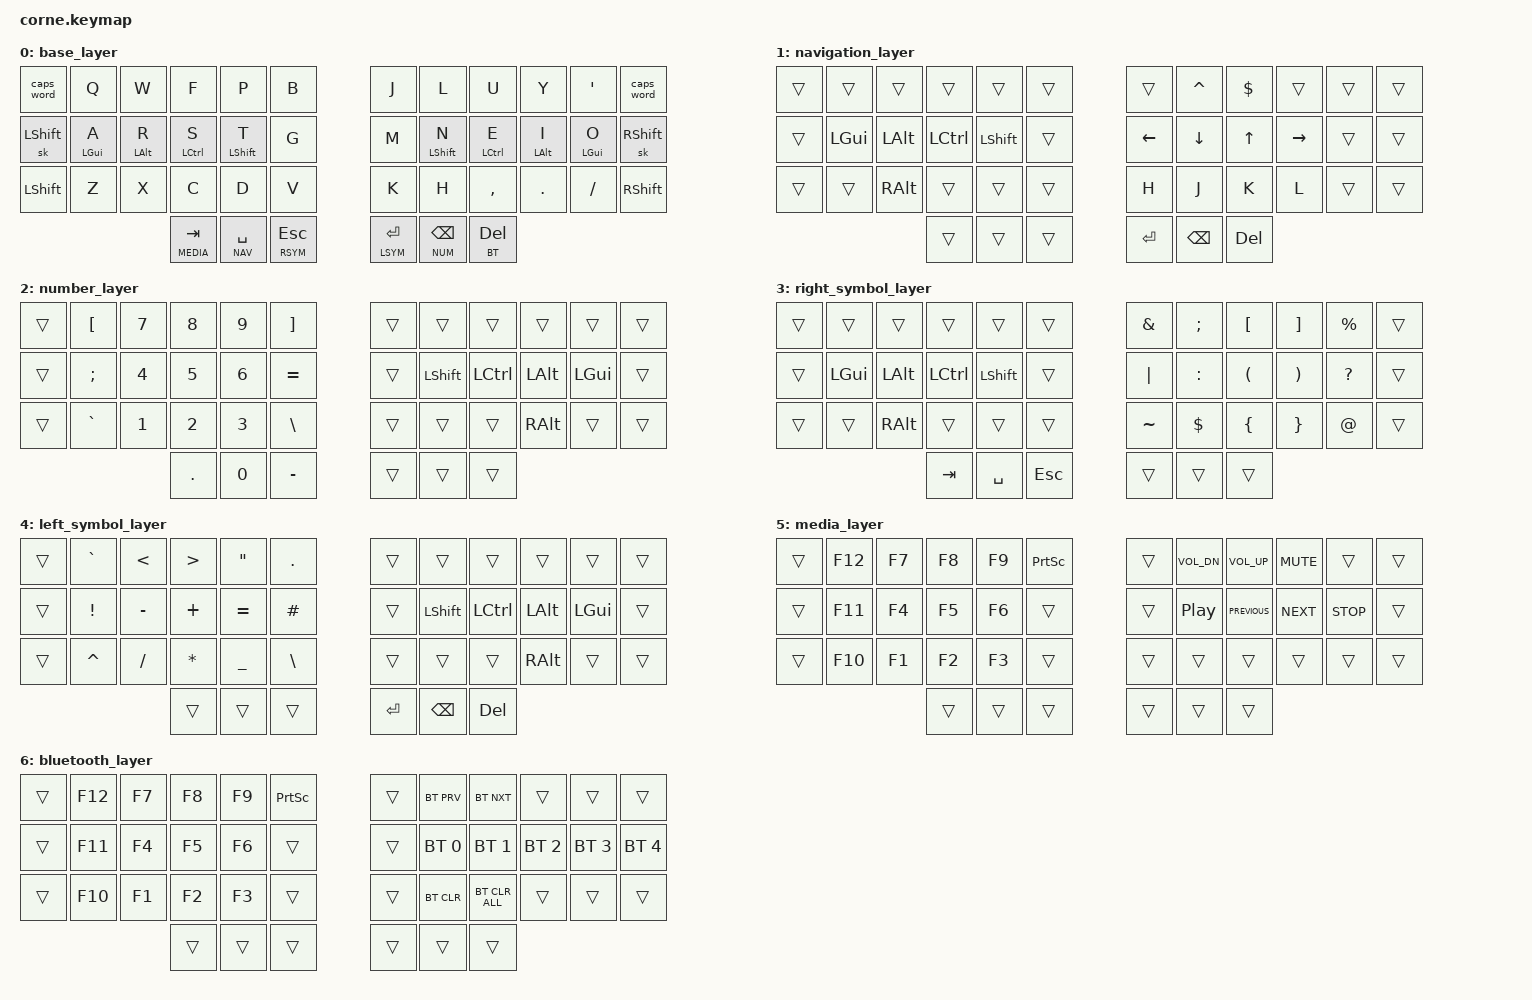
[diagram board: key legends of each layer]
#include <behaviors.dtsi>
#include <dt-bindings/zmk/keys.h>
#include <dt-bindings/zmk/bt.h>

#include "zmk-helpers/key-labels/42.h"

#define BASE 0
#define NAV 1
#define NUM 2
#define RSYM 3
#define LSYM 4
#define MEDIA 5
#define BT 6

#define KEYS_L LT0 LT1 LT2 LT3 LT4 LT5 LM0 LM1 LM2 LM3 LM4 LM5 LB0 LB1 LB2 LB3 LB4 LB5
#define KEYS_R RT0 RT1 RT2 RT3 RT4 RT5 RM0 RM1 RM2 RM3 RM4 RT5 RB0 RB1 RB2 RB3 RB4 RB5
#define THUMBS LH2 LH1 LH0 RH0 RH1 RH2

&sk {
    release-after-ms = <900>;
    quick-release;
};

&sl { // Allow sticky mods to chord across sticky layers.
    ignore-modifiers;
};

&lt {
    flavor = "balanced";
    tapping-term-ms = <200>;
    quick-tap-ms = <175>;
};

/ {
    behaviors {
        hml: homerow_mods_left {
            compatible = "zmk,behavior-hold-tap";
            #binding-cells = <2>;
            flavor = "balanced";
            require-prior-idle-ms = <150>;
            tapping-term-ms = <280>;
            quick-tap-ms = <175>;
            bindings = <&kp>, <&kp>;
            hold-trigger-key-positions = <KEYS_R THUMBS>;
            hold-trigger-on-release;
        };

        hmr: homerow_mods_right {
            compatible = "zmk,behavior-hold-tap";
            #binding-cells = <2>;
            flavor = "balanced";
            require-prior-idle-ms = <150>;
            tapping-term-ms = <280>;
            quick-tap-ms = <175>;
            bindings = <&kp>, <&kp>;
            hold-trigger-key-positions = <KEYS_L THUMBS>;
            hold-trigger-on-release;
        };
    };
    keymap {
        compatible = "zmk,keymap";
        base_layer {
            bindings = <
&caps_word  &kp Q         &kp W         &kp F         &kp P         &kp B       &kp J    &kp L         &kp U         &kp Y       &kp SQT     &caps_word
&sk LSHIFT  &hml LGUI A   &hml LALT R   &hml LCTRL S  &hml LSHIFT T &kp G       &kp M    &hmr LSHIFT N &hmr LCTRL E  &hmr LALT I &hmr LGUI O &sk RSHIFT
&kp LSHIFT  &kp Z         &kp X         &kp C         &kp D         &kp V       &kp K    &kp H         &kp COMMA     &kp DOT     &kp FSLH    &kp RSHIFT
                          &lt MEDIA TAB &lt NAV SPACE &lt RSYM ESC              &lt LSYM RET  &lt NUM BSPC  &lt BT DEL
            >;
        };

        navigation_layer {
            bindings = <
&trans  &trans    &trans    &trans     &trans     &trans    &trans    &kp CARET  &kp DOLLAR  &trans     &trans  &trans
&trans  &kp LGUI  &kp LALT  &kp LCTRL  &kp LSHFT  &trans    &kp LEFT  &kp DOWN   &kp UP      &kp RIGHT  &trans  &trans
&trans  &trans    &kp RALT  &trans     &trans     &trans    &kp H     &kp J      &kp K       &kp L      &trans  &trans
                            &trans     &trans     &trans    &kp RET   &kp BSPC   &kp DEL
            >;
        };

        number_layer {
            bindings = <
&trans  &kp LBKT   &kp N7  &kp N8   &kp N9  &kp RBKT     &trans  &trans     &trans     &trans    &trans    &trans
&trans  &kp SEMI   &kp N4  &kp N5   &kp N6  &kp EQUAL    &trans  &kp LSHFT  &kp LCTRL  &kp LALT  &kp LGUI  &trans
&trans  &kp GRAVE  &kp N1  &kp N2   &kp N3  &kp BSLH     &trans  &trans     &trans     &kp RALT  &trans    &trans
                           &kp DOT  &kp N0  &kp MINUS    &trans  &trans     &trans
            >;
        };

        right_symbol_layer {
            bindings = <
&trans  &trans    &trans    &trans     &trans     &trans     &kp AMPS   &kp SEMI    &kp LBKT  &kp RBKT  &kp PRCNT  &trans
&trans  &kp LGUI  &kp LALT  &kp LCTRL  &kp LSHFT  &trans     &kp PIPE   &kp COLON   &kp LPAR  &kp RPAR  &kp QMARK  &trans
&trans  &trans    &kp RALT  &trans     &trans     &trans     &kp TILDE  &kp DOLLAR  &kp LBRC  &kp RBRC  &kp AT     &trans
                            &kp TAB    &kp SPACE  &kp ESC    &trans         &trans          &trans
            >;
        };

        left_symbol_layer {
            bindings = <
&trans  &kp GRAVE   &kp LT      &kp GT    &kp DQT    &kp DOT          &trans   &trans     &trans     &trans    &trans    &trans
&trans  &kp EXCL    &kp MINUS   &kp PLUS  &kp EQUAL  &kp POUND        &trans   &kp LSHFT  &kp LCTRL  &kp LALT  &kp LGUI  &trans
&trans  &kp CARET   &kp FSLH    &kp STAR  &kp UNDER  &kp BSLH         &trans   &trans     &trans     &kp RALT  &trans    &trans
                                   &trans        &trans         &trans           &kp RET  &kp BSPC   &kp DEL
            >;
        };

        media_layer {
            bindings = <
&trans  &kp F12  &kp F7  &kp F8  &kp F9  &kp PRINTSCREEN    &trans  &kp C_VOL_DN      &kp C_VOLUME_UP  &kp C_MUTE  &trans      &trans
&trans  &kp F11  &kp F4  &kp F5  &kp F6  &trans             &trans  &kp C_PLAY_PAUSE  &kp C_PREVIOUS   &kp C_NEXT  &kp C_STOP  &trans
&trans  &kp F10  &kp F1  &kp F2  &kp F3  &trans             &trans  &trans            &trans           &trans      &trans      &trans
                         &trans  &trans  &trans             &trans  &trans            &trans
            >;
        };

        bluetooth_layer {
            bindings = <
&trans  &kp F12  &kp F7 &kp F8  &kp F9  &kp PRINTSCREEN     &trans  &bt BT_PRV    &bt BT_NXT      &trans        &trans        &trans
&trans  &kp F11  &kp F4 &kp F5  &kp F6  &trans              &trans  &bt BT_SEL 0  &bt BT_SEL 1    &bt BT_SEL 2  &bt BT_SEL 3  &bt BT_SEL 4
&trans  &kp F10  &kp F1 &kp F2  &kp F3  &trans              &trans  &bt BT_CLR    &bt BT_CLR_ALL  &trans        &trans        &trans
                        &trans  &trans  &trans              &trans  &trans        &trans
            >;
        };
    };
};
